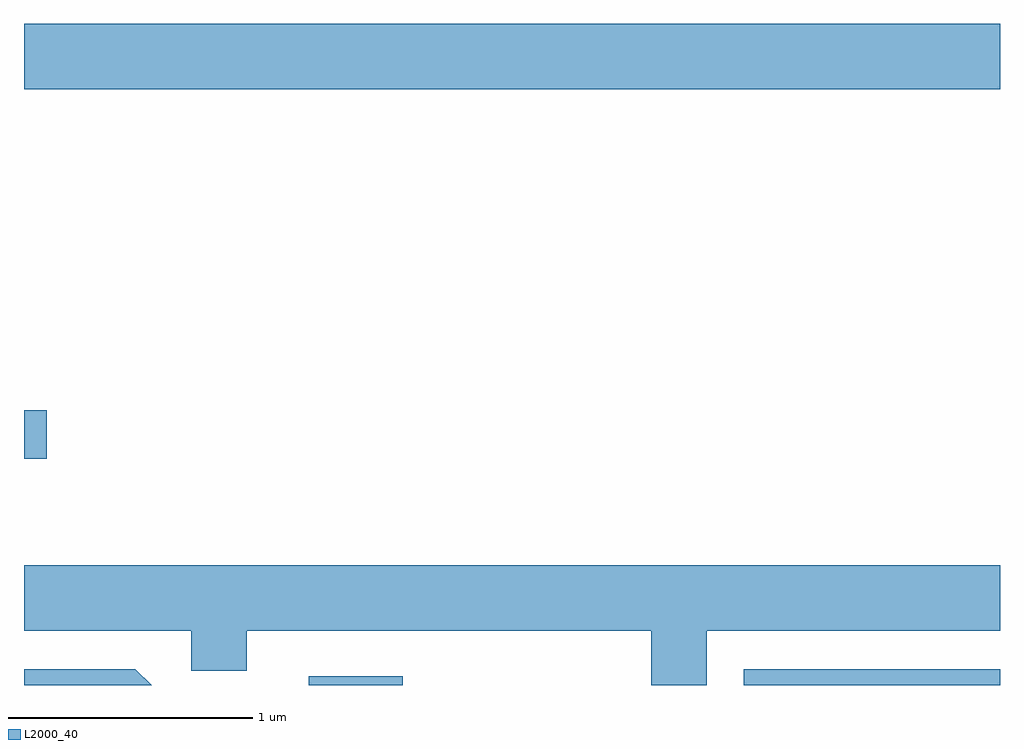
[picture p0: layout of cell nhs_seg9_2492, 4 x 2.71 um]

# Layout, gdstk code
import gdstk
lib = gdstk.Library(unit=1e-6, precision=1e-09)
def R(c, l, rs):  # rectangles x0, y0, x1, y1
    for r in rs: c.add(gdstk.rectangle(r[:2], r[2:], *l))
def P(c, l, *ps):  # polygons
    for p in ps: c.add(gdstk.Polygon(p, *l))
L2000_40 = (2000, 40)

nhs_seg9_2492 = lib.new_cell('nhs_seg9_2492')
R(nhs_seg9_2492, L2000_40, [(258.778,2040.432,259.164,2040.469), (260.561,2040.432,261.611,2040.499), (257.611,2041.361,257.704,2041.559), (257.611,2042.876,261.611,2043.144)])
P(nhs_seg9_2492, L2000_40, [(260.409,2040.656),(261.611,2040.656),(261.611,2040.924),(257.611,2040.924),(257.611,2040.656),(258.296,2040.656),(258.296,2040.491),(258.524,2040.491),(258.524,2040.656),(260.181,2040.656),(260.181,2040.432),(260.409,2040.432)],
  [(258.067,2040.499),(257.611,2040.499),(257.611,2040.432),(258.134,2040.432)])

lib.write_gds('nhs_seg9_2492.gds')
